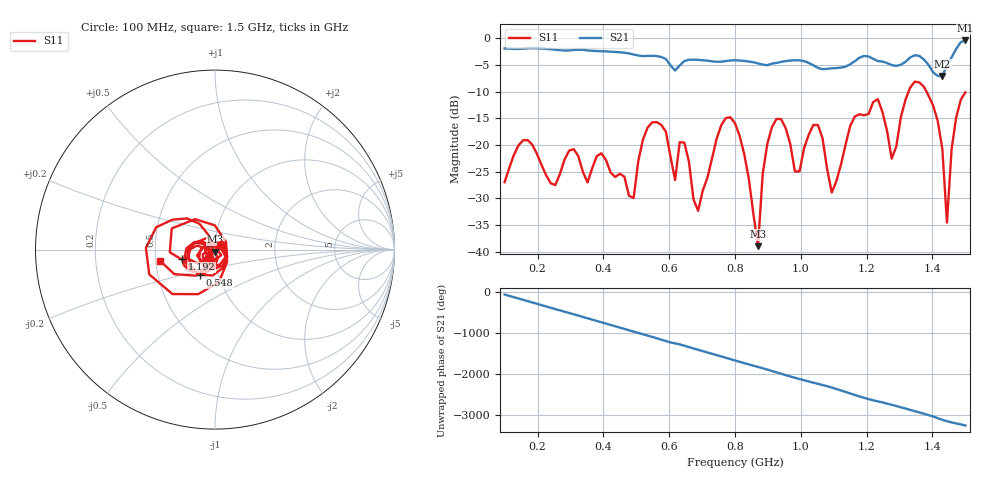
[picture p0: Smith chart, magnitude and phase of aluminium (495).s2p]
! NanoVNA-App
! Date: 2025-09-25 14:59:08
! Start: 100MHz Stop: 1,5GHz Points: 101
! S-Parameter data: F S11 S21 S12 S22
# Hz S RI R 50
!  Frequency  S11_Real  S11_Imag  S21_Real  S21_Imag  S12_Real  S12_Imag  S22_Real  S22_Imag
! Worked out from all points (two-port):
!   101 points, 100 MHz to 1.5 GHz, reference 50 ohm
!   highest |S21| = -0.44 dB at 1.5 GHz (marker M1); lowest = -7.1 dB at 1.43 GHz (marker M2)
!   |S21| within 3 dB of the highest: start of sweep to 568.6 MHz; 1.46 GHz to end of sweep (the widest 2 of 4)
!   lowest |S11| = -38.9 dB at 870 MHz (marker M3), VSWR 1.02, Z = 50.2 - j1.11 ohm
!   |S11| at or under -10 dB: start of sweep to 1.328 GHz; 1.382 GHz to end of sweep
!   S12 and S22 are empty: the file has one direction only
!   S11 on the Smith chart (normalised r, x): 100 MHz: 1.07, +0.06; 548 MHz: 0.82, -0.24; 1.192 GHz: 0.69, -0.07; 1.5 GHz: 0.53, -0.08
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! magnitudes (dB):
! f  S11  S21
! 100 MHz  -27.0  -1.9
! 156 MHz  -19.1  -2.0
! 338 MHz  -25.1  -2.2
! 492 MHz  -29.9  -3.1
! 548 MHz  -15.8  -3.3
! 576 MHz  -16.2  -3.5
! 646 MHz  -19.6  -4.3
! 688 MHz  -32.3  -4.1
! 800 MHz  -15.9  -4.1
! 870 MHz  -38.9  -4.7
! 912 MHz  -16.7  -4.8
! 996 MHz  -24.9  -4.2
! 1.038 GHz  -16.3  -5.1
! 1.094 GHz  -28.9  -5.7
! 1.192 GHz  -14.4  -3.3
! 1.234 GHz  -11.4  -4.3
! 1.276 GHz  -22.6  -5.0
! 1.346 GHz  -8.1  -3.2
! 1.43 GHz  -20.8  -7.1
! 1.444 GHz  -34.5  -5.1
! 1.458 GHz  -20.8  -3.6
! 1.5 GHz  -10.2  -0.4
